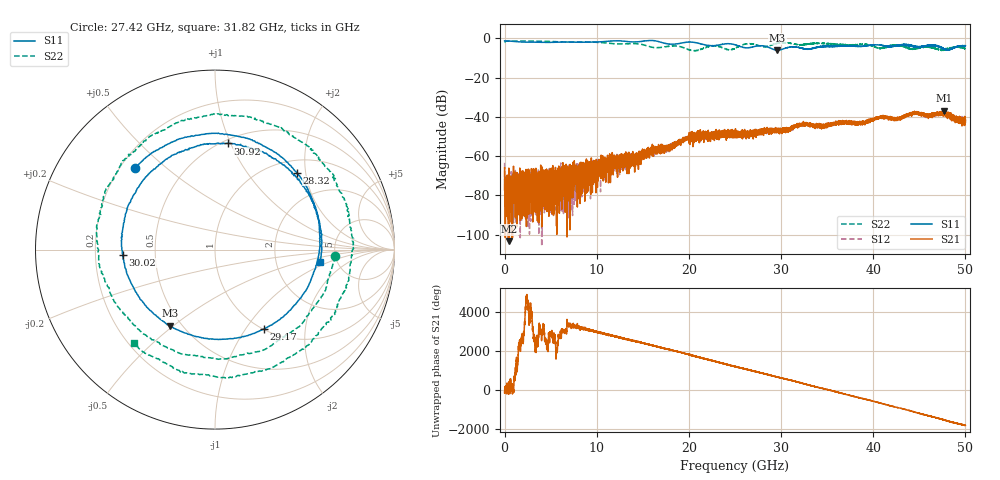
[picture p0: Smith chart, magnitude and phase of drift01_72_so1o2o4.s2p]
!Created with skrf (http://scikit-rf.org).
# Hz S RI R 50.0
!freq ReS11 ImS11 ReS21 ImS21 ReS12 ImS12 ReS22 ImS22
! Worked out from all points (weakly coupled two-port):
!   10001 points, 300 kHz to 50 GHz, reference 50 ohm
!   highest |S21| = -36.89 dB at 47.71 GHz (marker M1); lowest = -103.3 dB at 455.3 MHz (marker M2)
!   lowest |S11| = -6.2 dB at 29.61 GHz (marker M3), VSWR 2.93, Z = 21.8 - j24.3 ohm
!   |S11| at or under -10 dB: nowhere
!   |S22| runs from -6.4 to -1.4 dB; largest |S21 - S12| = 0.0037
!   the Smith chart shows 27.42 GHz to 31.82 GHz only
!   S11 on the Smith chart (normalised r, x): 27.42 GHz: 0.26, +0.39; 28.32 GHz: 1.27, +1.79; 29.17 GHz: 1.00, -1.22; 30.02 GHz: 0.32, -0.02; 30.92 GHz: 0.53, +0.98; 31.82 GHz: 3.69, -0.79
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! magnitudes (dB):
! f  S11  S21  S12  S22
! 300 kHz  -1.3  -65.9  -63.4  -2.1
! 255.3 MHz  -1.4  -83.9  -73.6  -1.4
! 455.3 MHz  -1.4  -103.3  -71.8  -1.4
! 3.425 GHz  -2.0  -76.1  -75.2  -1.5
! 5.205 GHz  -2.0  -69.4  -73.5  -1.6
! 8.335 GHz  -2.0  -67.5  -70.2  -1.8
! 16.67 GHz  -1.6  -55.4  -57.2  -4.8
! 18.62 GHz  -2.9  -53.3  -55.0  -3.9
! 20.33 GHz  -1.9  -50.1  -50.8  -6.2
! 22.62 GHz  -3.8  -49.1  -50.2  -3.9
! 25 GHz  -3.3  -50.7  -48.4  -5.0
! 27.42 GHz  -3.9  -48.0  -48.1  -3.5
! 28.32 GHz  -4.1  -48.2  -47.7  -4.4
! 29.17 GHz  -5.7  -47.5  -47.0  -3.0
! 29.61 GHz  -6.2  -47.0  -46.8  -2.6
! 30.02 GHz  -5.8  -47.3  -46.8  -2.3
! 30.92 GHz  -4.5  -45.8  -45.9  -2.5
! 31.82 GHz  -4.6  -44.6  -43.8  -3.2
! 33.34 GHz  -5.2  -44.5  -43.9  -2.7
! 41.67 GHz  -4.3  -41.0  -40.6  -3.9
! 47.71 GHz  -5.4  -36.9  -38.5  -5.6
! 50 GHz  -3.8  -41.7  -42.8  -5.2
